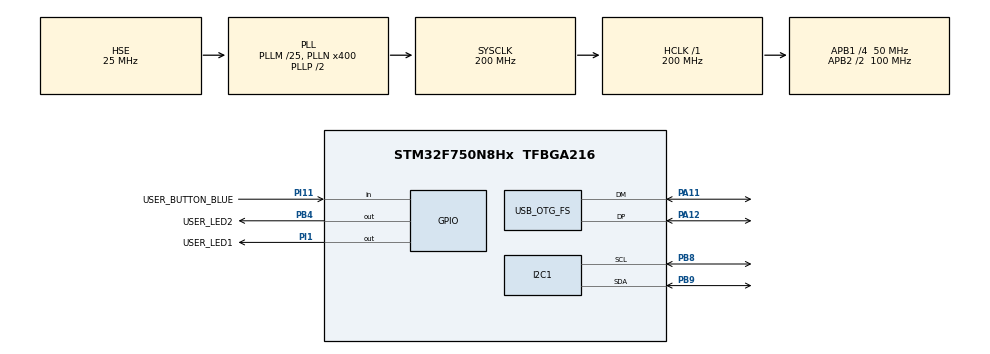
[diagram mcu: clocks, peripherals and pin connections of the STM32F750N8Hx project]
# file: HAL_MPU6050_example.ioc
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CORTEX_M7.ART_ACCLERATOR_ENABLE=1
CORTEX_M7.CPU_DCache=Enabled
CORTEX_M7.CPU_ICache=Enabled
CORTEX_M7.PREFETCH_ENABLE=1
I2C1.Timing=0x00C0EAFF
Mcu.Family=STM32F7
Mcu.Name=STM32F750N8Hx
Mcu.Package=TFBGA216
NVIC.OTG_FS_IRQn=true\:0\:0\:false\:false\:true\:false\:true
NVIC.PriorityGroup=NVIC_PRIORITYGROUP_4
NVIC.TIM6_DAC_IRQn=true\:0\:0\:false\:false\:true\:false\:true
NVIC.TimeBase=TIM6_DAC_IRQn
NVIC.TimeBaseIP=TIM6
PA11.Mode=Device_Only
PA11.Signal=USB_OTG_FS_DM
PA12.Mode=Device_Only
PA12.Signal=USB_OTG_FS_DP
PA13.Mode=Serial_Wire
PA13.Signal=SYS_JTMS-SWDIO
PA14.Mode=Serial_Wire
PA14.Signal=SYS_JTCK-SWCLK
PB4.GPIO_Label=USER_LED2
PB4.Signal=GPIO_Output
PB8.Mode=I2C
PB8.Signal=I2C1_SCL
PB9.Mode=I2C
PB9.Signal=I2C1_SDA
PH0/OSC_IN.Mode=HSE-External-Clock-Source
PH0/OSC_IN.Signal=RCC_OSC_IN
PH1/OSC_OUT.Mode=HSE-External-Clock-Source
PH1/OSC_OUT.Signal=RCC_OSC_OUT
PI1.GPIO_Label=USER_LED1
PI1.Signal=GPIO_Output
PI11.GPIO_Label=USER_BUTTON_BLUE
PI11.Signal=GPIO_Input
ProjectManager.HeapSize=0x200
ProjectManager.StackSize=0x400
ProjectManager.TargetToolchain=STM32CubeIDE
RCC.AHBFreq_Value=200000000
RCC.APB1CLKDivider=RCC_HCLK_DIV4
RCC.APB1Freq_Value=50000000
RCC.APB1TimFreq_Value=100000000
RCC.APB2CLKDivider=RCC_HCLK_DIV2
RCC.APB2Freq_Value=100000000
RCC.APB2TimFreq_Value=200000000
RCC.CortexFreq_Value=200000000
RCC.HCLKFreq_Value=200000000
RCC.HSE_VALUE=25000000
RCC.HSI_VALUE=16000000
RCC.LSE_VALUE=32768
RCC.PLL48CLockSelection=RCC_CLK48SOURCE_PLLSAIP
RCC.PLLI2SN=100
RCC.PLLM=25
RCC.PLLN=400
RCC.PLLQ=9
RCC.PLLSAIN=384
RCC.PLLSAIP=RCC_PLLSAIP_DIV8
RCC.PLLSAIR=5
RCC.SDMMCClockSelection=RCC_SDMMC1CLKSOURCE_CLK48
RCC.SYSCLKFreq_VALUE=200000000
RCC.SYSCLKSource=RCC_SYSCLKSOURCE_PLLCLK
RCC.USBFreq_Value=48000000
RCC.VCOOutputFreq_Value=400000000
USB_DEVICE.CLASS_NAME_FS=CDC
USB_DEVICE.LANGID_STRING-CDC_FS=1031
USB_DEVICE.VirtualMode-CDC_FS=Cdc
USB_DEVICE.VirtualModeFS=Cdc_FS
USB_OTG_FS.VirtualMode=Device_Only
VP_SYS_VS_tim6.Mode=TIM6
VP_USB_DEVICE_VS_USB_DEVICE_CDC_FS.Mode=CDC_FS
board=STM32F7508-DK

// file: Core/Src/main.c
/* USER CODE BEGIN Header */
/**
  ******************************************************************************
  * @file           : main.c
  * @brief          : Main program body
  ******************************************************************************
  * @attention
  *
  * <h2><center>&copy; Copyright (c) 2020 STMicroelectronics.
  * All rights reserved.</center></h2>
  *
  * This software component is licensed by ST under Ultimate Liberty license
  * SLA0044, the "License"; You may not use this file except in compliance with
  * the License. You may obtain a copy of the License at:
  *                             www.st.com/SLA0044
  *
  ******************************************************************************
  */
/* USER CODE END Header */

#include "main.h"
#include "usb_device.h"
/* USER CODE BEGIN Includes */
#include <stdbool.h>
#include "usb_print.h"
#include "MPU6050.h"
/* USER CODE END Includes */

I2C_HandleTypeDef hi2c1;

/* USER CODE BEGIN PV */
//extern USBD_HandleTypeDef hUsbDeviceFS;
extern MPU6050_t mpu6050;
/* USER CODE END PV */

void SystemClock_Config(void);
static void MX_GPIO_Init(void);
static void MX_I2C1_Init(void);

int main(void)
{

  /* Enable I-Cache---------------------------------------------------------*/
  SCB_EnableICache();

  /* Enable D-Cache---------------------------------------------------------*/
  SCB_EnableDCache();

  /* MCU Configuration--------------------------------------------------------*/

  /* Reset of all peripherals, Initializes the Flash interface and the Systick. */
  HAL_Init();

  /* Configure the system clock */
  SystemClock_Config();

  /* Initialize all configured peripherals */
  MX_GPIO_Init();
  MX_I2C1_Init();
  MX_USB_DEVICE_Init();
  /* USER CODE BEGIN 2 */
  mpu6050.devAddr = MPU6050_DEFAULT_ADDRESS;
  MPU6050_initialize();
  int32_t retvar = 0;
  /* USER CODE END 2 */

  /* Infinite loop */
  /* USER CODE BEGIN WHILE */

  while (1)
  {
	  HAL_Delay(50);
	  toggle_ledRed();
	  retvar = (int32_t) MPU6050_getRotationX();

	  usb_transmit_int(retvar);
	  HAL_Delay(50);
	  usb_transmit_string("\r\n");
    /* USER CODE END WHILE */

  }
}

void SystemClock_Config(void)
{
  RCC_OscInitTypeDef RCC_OscInitStruct = {0};
  RCC_ClkInitTypeDef RCC_ClkInitStruct = {0};
  RCC_PeriphCLKInitTypeDef PeriphClkInitStruct = {0};

  /** Configure the main internal regulator output voltage
  */
  __HAL_RCC_PWR_CLK_ENABLE();
  __HAL_PWR_VOLTAGESCALING_CONFIG(PWR_REGULATOR_VOLTAGE_SCALE1);
  /** Initializes the CPU, AHB and APB busses clocks
  */
  RCC_OscInitStruct.OscillatorType = RCC_OSCILLATORTYPE_HSE;
  RCC_OscInitStruct.HSEState = RCC_HSE_BYPASS;
  RCC_OscInitStruct.PLL.PLLState = RCC_PLL_ON;
  RCC_OscInitStruct.PLL.PLLSource = RCC_PLLSOURCE_HSE;
  RCC_OscInitStruct.PLL.PLLM = 25;
  RCC_OscInitStruct.PLL.PLLN = 400;
  RCC_OscInitStruct.PLL.PLLP = RCC_PLLP_DIV2;
  RCC_OscInitStruct.PLL.PLLQ = 9;
  if (HAL_RCC_OscConfig(&RCC_OscInitStruct) != HAL_OK)
  {
    Error_Handler();
  }
  /** Activate the Over-Drive mode
  */
  if (HAL_PWREx_EnableOverDrive() != HAL_OK)
  {
    Error_Handler();
  }
  /** Initializes the CPU, AHB and APB busses clocks
  */
  RCC_ClkInitStruct.ClockType = RCC_CLOCKTYPE_HCLK|RCC_CLOCKTYPE_SYSCLK
                              |RCC_CLOCKTYPE_PCLK1|RCC_CLOCKTYPE_PCLK2;
  RCC_ClkInitStruct.SYSCLKSource = RCC_SYSCLKSOURCE_PLLCLK;
  RCC_ClkInitStruct.AHBCLKDivider = RCC_SYSCLK_DIV1;
  RCC_ClkInitStruct.APB1CLKDivider = RCC_HCLK_DIV4;
  RCC_ClkInitStruct.APB2CLKDivider = RCC_HCLK_DIV2;

  if (HAL_RCC_ClockConfig(&RCC_ClkInitStruct, FLASH_LATENCY_6) != HAL_OK)
  {
    Error_Handler();
  }
  PeriphClkInitStruct.PeriphClockSelection = RCC_PERIPHCLK_I2C1|RCC_PERIPHCLK_CLK48;
  PeriphClkInitStruct.PLLSAI.PLLSAIN = 384;
  PeriphClkInitStruct.PLLSAI.PLLSAIR = 5;
  PeriphClkInitStruct.PLLSAI.PLLSAIQ = 2;
  PeriphClkInitStruct.PLLSAI.PLLSAIP = RCC_PLLSAIP_DIV8;
  PeriphClkInitStruct.PLLSAIDivQ = 1;
  PeriphClkInitStruct.PLLSAIDivR = RCC_PLLSAIDIVR_2;
  PeriphClkInitStruct.I2c1ClockSelection = RCC_I2C1CLKSOURCE_PCLK1;
  PeriphClkInitStruct.Clk48ClockSelection = RCC_CLK48SOURCE_PLLSAIP;
  if (HAL_RCCEx_PeriphCLKConfig(&PeriphClkInitStruct) != HAL_OK)
  {
    Error_Handler();
  }
}

static void MX_I2C1_Init(void)
{

  hi2c1.Instance = I2C1;
  hi2c1.Init.Timing = 0x00C0EAFF;
  hi2c1.Init.OwnAddress1 = 0;
  hi2c1.Init.AddressingMode = I2C_ADDRESSINGMODE_7BIT;
  hi2c1.Init.DualAddressMode = I2C_DUALADDRESS_DISABLE;
  hi2c1.Init.OwnAddress2 = 0;
  hi2c1.Init.OwnAddress2Masks = I2C_OA2_NOMASK;
  hi2c1.Init.GeneralCallMode = I2C_GENERALCALL_DISABLE;
  hi2c1.Init.NoStretchMode = I2C_NOSTRETCH_DISABLE;
  if (HAL_I2C_Init(&hi2c1) != HAL_OK)
  {
    Error_Handler();
  }
  /** Configure Analogue filter
  */
  if (HAL_I2CEx_ConfigAnalogFilter(&hi2c1, I2C_ANALOGFILTER_ENABLE) != HAL_OK)
  {
    Error_Handler();
  }
  /** Configure Digital filter
  */
  if (HAL_I2CEx_ConfigDigitalFilter(&hi2c1, 0) != HAL_OK)
  {
    Error_Handler();
  }

}

static void MX_GPIO_Init(void)
{
  GPIO_InitTypeDef GPIO_InitStruct = {0};

  /* GPIO Ports Clock Enable */
  __HAL_RCC_GPIOB_CLK_ENABLE();
  __HAL_RCC_GPIOA_CLK_ENABLE();
  __HAL_RCC_GPIOI_CLK_ENABLE();
  __HAL_RCC_GPIOH_CLK_ENABLE();

  /*Configure GPIO pin Output Level */
  HAL_GPIO_WritePin(USER_LED2_GPIO_Port, USER_LED2_Pin, GPIO_PIN_RESET);

  /*Configure GPIO pin Output Level */
  HAL_GPIO_WritePin(USER_LED1_GPIO_Port, USER_LED1_Pin, GPIO_PIN_RESET);

  /*Configure GPIO pin : USER_LED2_Pin */
  GPIO_InitStruct.Pin = USER_LED2_Pin;
  GPIO_InitStruct.Mode = GPIO_MODE_OUTPUT_PP;
  GPIO_InitStruct.Pull = GPIO_NOPULL;
  GPIO_InitStruct.Speed = GPIO_SPEED_FREQ_LOW;
  HAL_GPIO_Init(USER_LED2_GPIO_Port, &GPIO_InitStruct);

  /*Configure GPIO pin : USER_LED1_Pin */
  GPIO_InitStruct.Pin = USER_LED1_Pin;
  GPIO_InitStruct.Mode = GPIO_MODE_OUTPUT_PP;
  GPIO_InitStruct.Pull = GPIO_NOPULL;
  GPIO_InitStruct.Speed = GPIO_SPEED_FREQ_LOW;
  HAL_GPIO_Init(USER_LED1_GPIO_Port, &GPIO_InitStruct);

  /*Configure GPIO pin : USER_BUTTON_BLUE_Pin */
  GPIO_InitStruct.Pin = USER_BUTTON_BLUE_Pin;
  GPIO_InitStruct.Mode = GPIO_MODE_INPUT;
  GPIO_InitStruct.Pull = GPIO_NOPULL;
  HAL_GPIO_Init(USER_BUTTON_BLUE_GPIO_Port, &GPIO_InitStruct);

}

/* USER CODE BEGIN 4 */

void toggle_ledGreen(void)
{
	HAL_GPIO_TogglePin(USER_LED1_GPIO_Port, USER_LED1_Pin);
}
void toggle_ledRed(void)
{
	HAL_GPIO_TogglePin(USER_LED2_GPIO_Port, USER_LED2_Pin);
}

void set_ledRed(uint8_t PinState)
{
	HAL_GPIO_WritePin(USER_LED1_GPIO_Port, USER_LED1_Pin, PinState);
}

void set_ledGreen(uint8_t PinState)
{
	HAL_GPIO_WritePin(USER_LED2_GPIO_Port, USER_LED2_Pin, PinState);
}
int32_t get_pushbutton1(void)
{
	return HAL_GPIO_ReadPin(USER_BUTTON_BLUE_GPIO_Port, USER_BUTTON_BLUE_Pin);
}

/* USER CODE END 4 */

 /**
  * @brief  Period elapsed callback in non blocking mode
  * @note   This function is called  when TIM6 interrupt took place, inside
  * HAL_TIM_IRQHandler(). It makes a direct call to HAL_IncTick() to increment
  * a global variable "uwTick" used as application time base.
  * @param  htim : TIM handle
  * @retval None
  */
void HAL_TIM_PeriodElapsedCallback(TIM_HandleTypeDef *htim)
{
  if (htim->Instance == TIM6) {
    HAL_IncTick();
  }
}

void Error_Handler(void)
{
}

/************************ (C) COPYRIGHT STMicroelectronics *****END OF FILE****/
